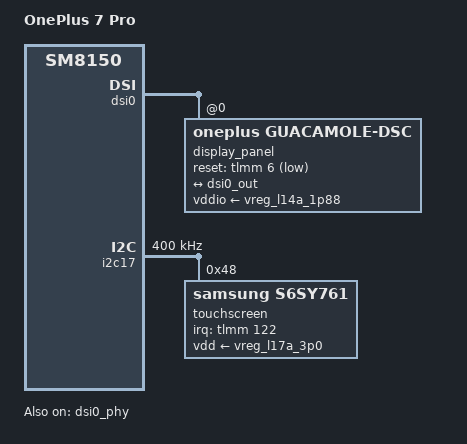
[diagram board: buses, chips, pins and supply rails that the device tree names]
// SPDX-License-Identifier: BSD-3-Clause
/*
 * Devicetree for the OnePlus 7 Pro. This device uses a samsung touch driver
 * and has a 1440p panel but is otherwise similar to the rest of the series.
 *
 * Copyright (c) 2021, Caleb Connolly <caleb@connolly.tech>
 */

/dts-v1/;

#include <dt-bindings/regulator/qcom,rpmh-regulator.h>
#include <dt-bindings/gpio/gpio.h>
#include "sm8150-oneplus-common.dtsi"

/ {
	model = "OnePlus 7 Pro";
	compatible = "oneplus,guacamole", "oneplus,oneplus7", "qcom,sm8150";

	aliases {
		display0 = &framebuffer0;
	};

	chosen {
		#address-cells = <2>;
		#size-cells = <2>;
		ranges;
		stdout-path = "display0";

		/*
		 * hack: Use framebuffer setup by the bootloader for simplefb.
		 * the address is taken from the bootloader config (strings xbl.img | grep "Display Reserved")
		 */
		framebuffer0: framebuffer@9C000000 {
			compatible = "simple-framebuffer";
			reg = <0 0x9C000000 0 (1440 * 3120 * 4)>;
			width = <1440>;
			height = <3120>;
			stride = <(1440 * 4)>;
			format = "a8r8g8b8";
			status = "okay";

		};
	};

	reserved-memory {
	// hack: Bootloader framebuffer memory region
		fb_mem: memory@a1a10000 {
			compatible = "removed-dma-pool";
			no-map;
			reg = <0 0x9C000000 0 (1440 * 3120 * 4)>;
		};
	};
};

&gpu {
	zap-shader {
		memory-region = <&gpu_mem>;
		firmware-name = "qcom/a640_zap.mdt";
	};
};

&dsi0 {
	status = "okay";
	vdda-supply = <&vdda_mipi_dsi0_1p2>;

	#address-cells = <1>;
	#size-cells = <0>;

	/*
	 * Both devices use different panels but all other properties
	 * are common. Compatible line is declared in device dts.
	 */
	display_panel: panel@0 {
		compatible = "oneplus,guacamole-dsc";
		status = "okay";

		#address-cells = <1>;
		#size-cells = <0>;
		reg = <0>;

		vddio-supply = <&vreg_l14a_1p88>;

		reset-gpios = <&tlmm 6 GPIO_ACTIVE_LOW>;

		pinctrl-names = "default";
		pinctrl-0 = <&panel_reset_pins &panel_te_pin &panel_esd_pin>;

		port {
			panel_in: endpoint {
				remote-endpoint = <&dsi0_out>;
			};
		};
	};
};

&dsi0_out {
	remote-endpoint = <&panel_in>;
	data-lanes = <0 1 2 3>;
};

&dsi0_phy {
	status = "okay";
	vdds-supply = <&vdda_mipi_dsi0_pll>;
};

&tlmm {
	panel_reset_pins: panel-reset {
		mux {
			pins = "gpio6", "gpio78", "gpio130";
			function = "gpio";
			drive-strength = <8>;
			bias-disable = <0>;
		};
	};

	panel_te_pin: panel-te {
		mux {
			pins = "gpio8";
			function = "mdp_vsync";
			drive-strength = <2>;
			bias-disable;
			input-enable;
		};
	};

	panel_esd_pin: panel-esd {
		mux {
			pins = "gpio30";
			function = "gpio";
			drive-strength = <2>;
			bias-pull-down;
			input-enable;
		};
	};
};

&i2c17 {
	status = "okay";
	clock-frequency = <400000>;

	touchscreen@48 {
		compatible = "samsung,s6sy761";
		status = "okay";
		reg = <0x48>;
		interrupt-parent = <&tlmm>;
		interrupts = <122 0x2008>;
		vdd-supply = <&vreg_l17a_3p0>;

		pinctrl-names = "default";
		pinctrl-0 = <&tp_irq_active &tp_rst_active &tp_1v8_active>;
	};
};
